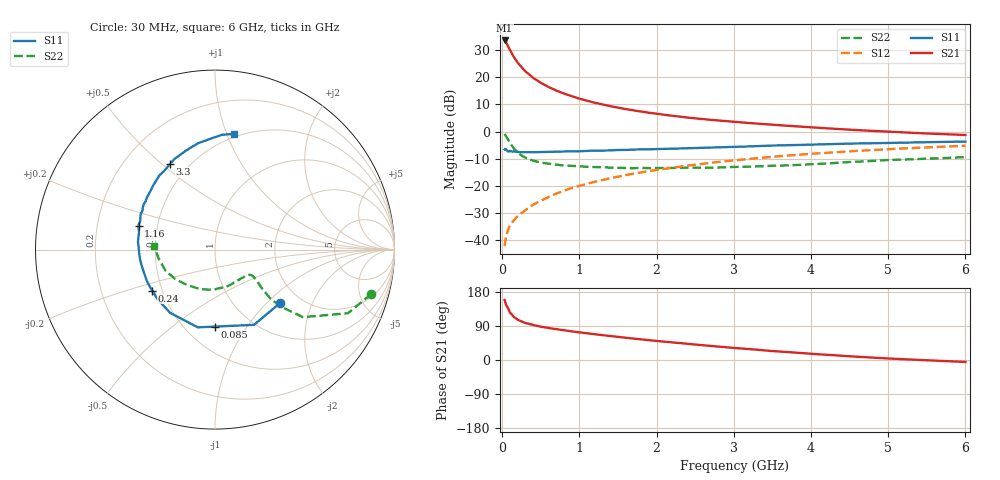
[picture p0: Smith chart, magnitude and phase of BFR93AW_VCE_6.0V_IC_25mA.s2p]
! Infineon Technologies  Discrete & RF Semiconductors
! BFR93AW
! VCE =  6.0 V,  IC =  25 mA
! Common Emitter S-Parameters:  Nov 2015
# GHz  S  MA  R  50
!  f  S11  S21  S12  S22
! GHz  MAG  ANG  MAG  ANG  MAG  ANG  MAG  ANG
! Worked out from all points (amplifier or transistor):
!   206 points, 30 MHz to 6 GHz, reference 50 ohm
!   highest |S21| = 33.5 dB at 30 MHz (marker M1)
!   |S21| within 3 dB of that: start of sweep to 89.3 MHz
!   unconditionally stable (mu >= 1): 491.6 MHz to 2.143 GHz
!   at 200 MHz: K = 0.75, MSG = 28.2 dB, |S12| = -31.1 dB
!   at 1.56 GHz: K = 1.04, MAG = 11.2 dB, |S12| = -16.2 dB
!   at 6 GHz: K = 0.89, MSG = 2.0 dB, |S12| = -5.2 dB
!   S11 on the Smith chart (normalised r, x): 30 MHz: 1.57, -1.20; 85 MHz: 0.69, -0.72; 240 MHz: 0.44, -0.24; 1.16 GHz: 0.39, +0.13; 3.3 GHz: 0.40, +0.53; 6 GHz: 0.47, +1.06
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0.03  0.4687 -39.7  47.37 158.5  0.0078 75.2  0.9055 -15.9
0.05  0.4722 -62.6  43.25 145.0  0.012 69.8  0.8212 -25.6
0.085  0.4289 -90.3  34.46 132.2  0.0169 64.2  0.6745 -33.3
0.1  0.4436 -102.5  31.43 124.6  0.019 62.7  0.6165 -37.6
0.15  0.4319 -125.3  23.4 113.3  0.0233 61.0  0.4854 -40.9
0.2  0.4233 -138.3  18.46 106.3  0.0278 62.5  0.4103 -41.4
0.24  0.418 -146.8  15.75 102.5  0.0309 63.6  0.37 -40.5
0.3  0.4181 -155.1  12.74 97.7  0.036 64.9  0.3307 -39.2
0.4  0.4173 -165.4  9.696 92.1  0.0452 68.4  0.2911 -36.6
0.5  0.4212 -172.2  7.852 87.8  0.0536 69.8  0.2681 -35.5
0.6  0.423 -177.2  6.575 84.3  0.0626 71.1  0.2558 -34.8
0.7  0.4256 178.1  5.679 81.1  0.0724 71.7  0.2472 -35.3
0.82  0.4316 173.4  4.875 77.6  0.0836 71.6  0.2364 -36.4
1.04  0.437 166.2  3.882 71.8  0.1043 71.6  0.2275 -39.5
1.16  0.4451 162.9  3.499 68.8  0.1157 71.3  0.2229 -42.0
1.5  0.4588 154.7  2.745 61.0  0.1484 69.9  0.2163 -49.7
2.02  0.478 142.3  2.103 49.9  0.1989 66.2  0.2137 -64.4
3.1  0.5271 121.1  1.47 30.4  0.3041 56.8  0.2242 -95.8
3.3  0.539 117.6  1.4 27.2  0.3238 54.8  0.228 -103.0
4.1  0.5795 104.7  1.171 15.1  0.3983 46.6  0.2543 -131.4
5.1  0.6213 91.3  0.98 3.1  0.4816 35.8  0.302 -160.0
6  0.6531 80.8  0.865 -5.1  0.5487 26.3  0.3392 177.0
